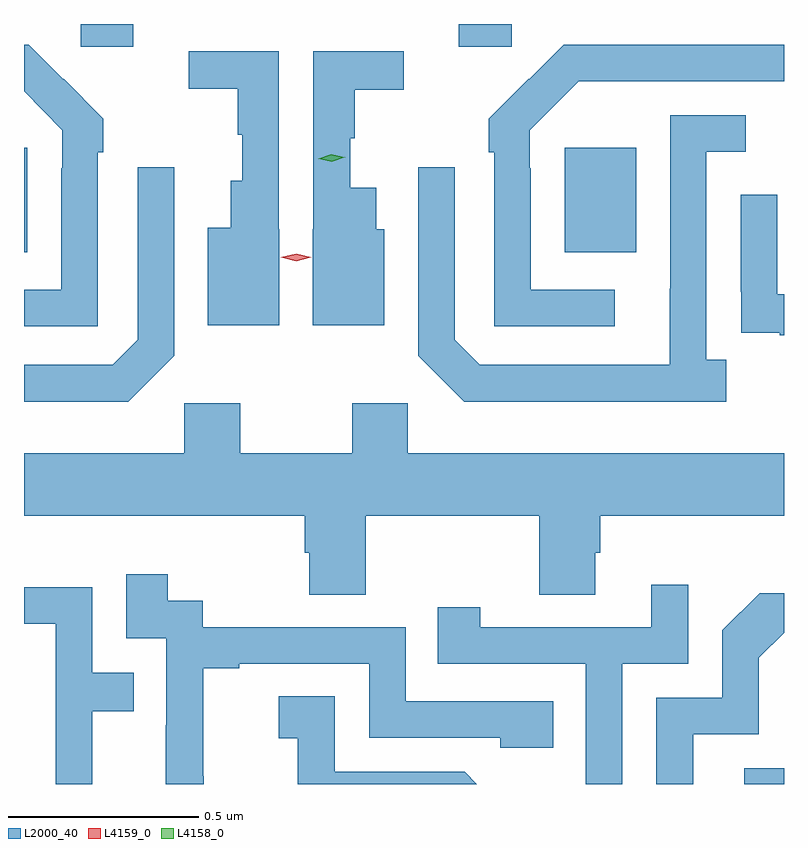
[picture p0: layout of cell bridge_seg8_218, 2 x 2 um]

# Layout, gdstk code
import gdstk
lib = gdstk.Library(unit=1e-6, precision=1e-09)
def R(c, l, rs):  # rectangles x0, y0, x1, y1
    for r in rs: c.add(gdstk.rectangle(r[:2], r[2:], *l))
def P(c, l, *ps):  # polygons
    for p in ps: c.add(gdstk.Polygon(p, *l))
L2000_40 = (2000, 40)
L4158_0 = (4158, 0)
L4159_0 = (4159, 0)

bridge_seg8_218 = lib.new_cell('bridge_seg8_218')
R(bridge_seg8_218, L2000_40, [(144.513,1107.802,144.618,1107.843), (142.618,1109.201,142.627,1109.476), (144.041,1109.201,144.229,1109.476), (142.767,1109.742,142.906,1109.802), (143.762,1109.742,143.901,1109.802)])
P(bridge_seg8_218, L2000_40, [(144.172,1109.103),(143.952,1109.103),(143.952,1109.423),(143.949,1109.423),(143.949,1109.523),(144.078,1109.652),(144.618,1109.652),(144.618,1109.748),(144.038,1109.748),(143.947,1109.657),(143.946,1109.658),(143.841,1109.553),(143.841,1109.465),(143.856,1109.465),(143.856,1109.007),(144.172,1109.007)],
  [(142.812,1109.465),(142.827,1109.465),(142.827,1109.553),(142.722,1109.658),(142.721,1109.657),(142.63,1109.748),(142.618,1109.748),(142.618,1109.625),(142.719,1109.523),(142.719,1109.423),(142.716,1109.423),(142.716,1109.103),(142.618,1109.103),(142.618,1109.007),(142.812,1109.007)],
  [(143.566,1109.262),(143.545,1109.262),(143.545,1109.371),(143.477,1109.371),(143.477,1109.502),(143.488,1109.502),(143.488,1109.629),(143.617,1109.629),(143.617,1109.73),(143.379,1109.73),(143.379,1109.262),(143.378,1109.262),(143.378,1109.009),(143.566,1109.009)],
  [(143.29,1109.262),(143.289,1109.262),(143.289,1109.73),(143.052,1109.73),(143.052,1109.632),(143.181,1109.632),(143.181,1109.511),(143.192,1109.511),(143.192,1109.389),(143.162,1109.389),(143.162,1109.266),(143.102,1109.266),(143.102,1109.009),(143.29,1109.009)],
  [(144.466,1108.918),(144.414,1108.918),(144.414,1109.466),(144.517,1109.466),(144.517,1109.562),(144.318,1109.562),(144.318,1109.105),(144.317,1109.105),(144.317,1108.905),(143.817,1108.905),(143.751,1108.971),(143.751,1109.425),(143.655,1109.425),(143.655,1108.929),(143.776,1108.808),(144.466,1108.808)],
  [(143.013,1108.929),(143.013,1109.425),(142.917,1109.425),(142.917,1108.971),(142.851,1108.905),(142.618,1108.905),(142.618,1108.808),(142.892,1108.808)],
  [(144.618,1109.091),(144.6,1109.091),(144.6,1109.353),(144.504,1109.353),(144.504,1109.098),(144.505,1109.098),(144.505,1108.989),(144.607,1108.989),(144.607,1108.983),(144.618,1108.983)],
  [(143.517,1108.508),(143.974,1108.508),(143.974,1108.3),(144.121,1108.3),(144.121,1108.41),(144.134,1108.41),(144.134,1108.508),(144.618,1108.508),(144.618,1108.672),(143.628,1108.672),(143.628,1108.804),(143.482,1108.804),(143.482,1108.672),(143.187,1108.672),(143.187,1108.804),(143.04,1108.804),(143.04,1108.672),(142.618,1108.672),(142.618,1108.508),(143.357,1108.508),(143.357,1108.41),(143.369,1108.41),(143.369,1108.3),(143.517,1108.3)],
  [(143.091,1107.823),(143.09,1107.823),(143.09,1108.107),(143.185,1108.107),(143.185,1108.119),(143.526,1108.119),(143.526,1107.924),(143.871,1107.924),(143.871,1107.897),(144.011,1107.897),(144.011,1108.02),(143.622,1108.02),(143.622,1108.215),(143.088,1108.215),(143.088,1108.284),(142.996,1108.284),(142.996,1108.354),(142.887,1108.354),(142.887,1108.185),(142.992,1108.185),(142.992,1107.956),(142.991,1107.956),(142.991,1107.802),(143.091,1107.802)],
  [(144.192,1108.119),(144.366,1108.119),(144.366,1108.327),(144.269,1108.327),(144.269,1108.215),(143.818,1108.215),(143.818,1108.267),(143.707,1108.267),(143.707,1108.119),(144.096,1108.119),(144.096,1107.802),(144.192,1107.802)],
  [(142.797,1107.994),(142.907,1107.994),(142.907,1108.095),(142.797,1108.095),(142.797,1108.32),(142.618,1108.32),(142.618,1108.224),(142.701,1108.224),(142.701,1107.802),(142.797,1107.802)],
  [(144.379,1107.933),(144.552,1107.933),(144.552,1108.134),(144.618,1108.2),(144.618,1108.304),(144.554,1108.304),(144.456,1108.206),(144.456,1108.029),(144.282,1108.029),(144.282,1107.802),(144.379,1107.802)],
  [(143.778,1107.834),(143.436,1107.834),(143.436,1108.033),(143.289,1108.033),(143.289,1107.923),(143.338,1107.923),(143.338,1107.802),(143.81,1107.802)])
P(bridge_seg8_218, L4158_0, [(143.428,1109.439),(143.392,1109.448),(143.392,1109.448),(143.392,1109.448),(143.427,1109.459),(143.462,1109.451),(143.463,1109.451),(143.462,1109.451)])
P(bridge_seg8_218, L4159_0, [(143.334,1109.178),(143.294,1109.188),(143.294,1109.188),(143.294,1109.188),(143.334,1109.198),(143.374,1109.188),(143.374,1109.188),(143.374,1109.188)])

lib.write_gds('bridge_seg8_218.gds')
